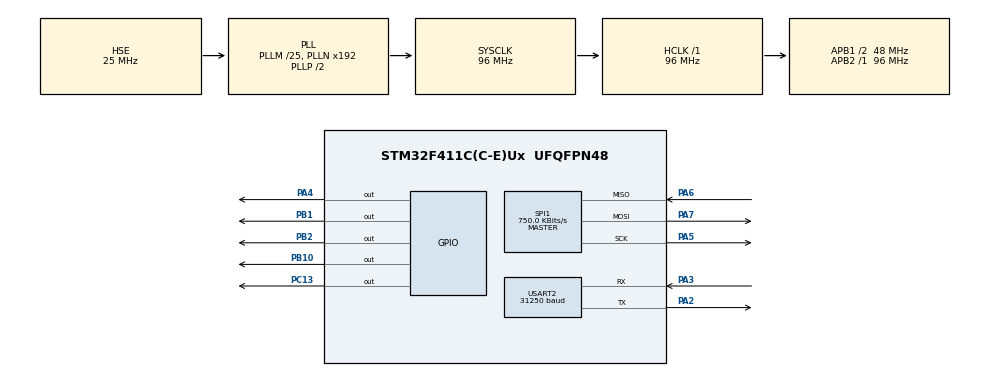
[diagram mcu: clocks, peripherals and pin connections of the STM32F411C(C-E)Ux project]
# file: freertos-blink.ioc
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Dma.Request0=SPI1_TX
Dma.SPI1_TX.0.Direction=DMA_MEMORY_TO_PERIPH
Dma.SPI1_TX.0.FIFOMode=DMA_FIFOMODE_DISABLE
Dma.SPI1_TX.0.Instance=DMA2_Stream2
Dma.SPI1_TX.0.MemDataAlignment=DMA_MDATAALIGN_BYTE
Dma.SPI1_TX.0.MemInc=DMA_MINC_ENABLE
Dma.SPI1_TX.0.Mode=DMA_NORMAL
Dma.SPI1_TX.0.PeriphDataAlignment=DMA_PDATAALIGN_BYTE
Dma.SPI1_TX.0.PeriphInc=DMA_PINC_DISABLE
Dma.SPI1_TX.0.Priority=DMA_PRIORITY_LOW
FREERTOS.Queues01=midi_queue,32,uint8_t,0,Static,midi_queueBuffer,midi_queueControlBlock;to_send_queue,16,fpga_msg_t,0,Static,to_send_queueBuffer,to_send_queueControlBlock
FREERTOS.Tasks01=blink01,24,128,start_blink_01,Default,NULL,Dynamic,NULL,NULL;transmit_spi,24,128,transmit_spi_01,Default,NULL,Dynamic,NULL,NULL;process_midi,32,128,process_midi_from_queue,Default,NULL,Dynamic,NULL,NULL
FREERTOS.configENABLE_FPU=1
Mcu.Family=STM32F4
Mcu.Name=STM32F411C(C-E)Ux
Mcu.Package=UFQFPN48
NVIC.DMA2_Stream2_IRQn=true\:5\:0\:false\:false\:true\:true\:false\:true\:true
NVIC.PriorityGroup=NVIC_PRIORITYGROUP_4
NVIC.SPI1_IRQn=true\:5\:0\:false\:false\:true\:true\:true\:true\:true
NVIC.TIM1_TRG_COM_TIM11_IRQn=true\:15\:0\:false\:false\:true\:false\:false\:true\:true
NVIC.TimeBase=TIM1_TRG_COM_TIM11_IRQn
NVIC.TimeBaseIP=TIM11
NVIC.USART2_IRQn=true\:5\:0\:false\:false\:true\:true\:true\:true\:true
PA13.Mode=Serial_Wire
PA13.Signal=SYS_JTMS-SWDIO
PA14.Mode=Serial_Wire
PA14.Signal=SYS_JTCK-SWCLK
PA2.Mode=Asynchronous
PA2.Signal=USART2_TX
PA3.Mode=Asynchronous
PA3.Signal=USART2_RX
PA4.Signal=GPIO_Output
PA5.Mode=Full_Duplex_Master
PA5.Signal=SPI1_SCK
PA6.Mode=Full_Duplex_Master
PA6.Signal=SPI1_MISO
PA7.Mode=Full_Duplex_Master
PA7.Signal=SPI1_MOSI
PB1.GPIO_PuPd=GPIO_PULLDOWN
PB1.PinState=GPIO_PIN_RESET
PB1.Signal=GPIO_Output
PB10.GPIO_PuPd=GPIO_PULLDOWN
PB10.PinState=GPIO_PIN_RESET
PB10.Signal=GPIO_Output
PB2.GPIO_PuPd=GPIO_PULLDOWN
PB2.PinState=GPIO_PIN_RESET
PB2.Signal=GPIO_Output
PC13-ANTI_TAMP.Signal=GPIO_Output
PH0\ -\ OSC_IN.Mode=HSE-External-Oscillator
PH0\ -\ OSC_IN.Signal=RCC_OSC_IN
PH1\ -\ OSC_OUT.Mode=HSE-External-Oscillator
PH1\ -\ OSC_OUT.Signal=RCC_OSC_OUT
ProjectManager.HeapSize=0x200
ProjectManager.StackSize=0x400
ProjectManager.TargetToolchain=Makefile
RCC.48MHZClocksFreq_Value=48000000
RCC.AHBFreq_Value=96000000
RCC.APB1CLKDivider=RCC_HCLK_DIV2
RCC.APB1Freq_Value=48000000
RCC.APB1TimFreq_Value=96000000
RCC.APB2Freq_Value=96000000
RCC.APB2TimFreq_Value=96000000
RCC.CortexFreq_Value=96000000
RCC.HCLKFreq_Value=96000000
RCC.HSE_VALUE=25000000
RCC.HSI_VALUE=16000000
RCC.LSE_VALUE=32768
RCC.PLLM=25
RCC.PLLSourceVirtual=RCC_PLLSOURCE_HSE
RCC.SYSCLKFreq_VALUE=96000000
RCC.SYSCLKSource=RCC_SYSCLKSOURCE_PLLCLK
RCC.VCOOutputFreq_Value=192000000
SPI1.BaudRatePrescaler=SPI_BAUDRATEPRESCALER_128
SPI1.CalculateBaudRate=750.0 KBits/s
SPI1.Direction=SPI_DIRECTION_2LINES
SPI1.Mode=SPI_MODE_MASTER
SPI1.VirtualType=VM_MASTER
USART2.BaudRate=31250
USART2.Mode=MODE_RX
USART2.VirtualMode=VM_ASYNC
VP_FREERTOS_VS_CMSIS_V2.Mode=CMSIS_V2
VP_SYS_VS_tim11.Mode=TIM11
board=custom

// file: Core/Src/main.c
/* USER CODE BEGIN Header */
/**
  ******************************************************************************
  * @file           : main.c
  * @brief          : Main program body
  ******************************************************************************
  * @attention
  *
  * Copyright (c) 2026 STMicroelectronics.
  * All rights reserved.
  *
  * This software is licensed under terms that can be found in the LICENSE file
  * in the root directory of this software component.
  * If no LICENSE file comes with this software, it is provided AS-IS.
  *
  ******************************************************************************
  */
/* USER CODE END Header */
#include "main.h"
#include "cmsis_os.h"
#include "dma.h"
#include "spi.h"
#include "usart.h"
#include "gpio.h"

/* USER CODE BEGIN Includes */
#include "midi.h"
/* USER CODE END Includes */

/* USER CODE BEGIN PV */
  uint8_t rx_buffer;
/* USER CODE END PV */

void SystemClock_Config(void);
void MX_FREERTOS_Init(void);

int main(void)
{

  /* MCU Configuration--------------------------------------------------------*/

  /* Reset of all peripherals, Initializes the Flash interface and the Systick. */
  HAL_Init();

  /* Configure the system clock */
  SystemClock_Config();

  /* Initialize all configured peripherals */
  MX_GPIO_Init();
  MX_DMA_Init();
  MX_USART2_UART_Init();
  MX_SPI1_Init();
  /* USER CODE BEGIN 2 */
  /* start receiving interrupts */
  HAL_UART_Receive_IT(&huart2, &rx_buffer, 1);
  /* Make leds show default freq mult (1/2 carrier f)*/
  display_freq_mult(0);
  /* USER CODE END 2 */

  /* Init scheduler */
  osKernelInitialize();  /* Call init function for freertos objects (in cmsis_os2.c) */
  MX_FREERTOS_Init();

  /* Start scheduler */
  osKernelStart();

  /* We should never get here as control is now taken by the scheduler */

  /* Infinite loop */
  while (1)
  {

  }
}

void SystemClock_Config(void)
{
  RCC_OscInitTypeDef RCC_OscInitStruct = {0};
  RCC_ClkInitTypeDef RCC_ClkInitStruct = {0};

  /** Configure the main internal regulator output voltage
  */
  __HAL_RCC_PWR_CLK_ENABLE();
  __HAL_PWR_VOLTAGESCALING_CONFIG(PWR_REGULATOR_VOLTAGE_SCALE1);

  /** Initializes the RCC Oscillators according to the specified parameters
  * in the RCC_OscInitTypeDef structure.
  */
  RCC_OscInitStruct.OscillatorType = RCC_OSCILLATORTYPE_HSE;
  RCC_OscInitStruct.HSEState = RCC_HSE_ON;
  RCC_OscInitStruct.PLL.PLLState = RCC_PLL_ON;
  RCC_OscInitStruct.PLL.PLLSource = RCC_PLLSOURCE_HSE;
  RCC_OscInitStruct.PLL.PLLM = 25;
  RCC_OscInitStruct.PLL.PLLN = 192;
  RCC_OscInitStruct.PLL.PLLP = RCC_PLLP_DIV2;
  RCC_OscInitStruct.PLL.PLLQ = 4;
  if (HAL_RCC_OscConfig(&RCC_OscInitStruct) != HAL_OK)
  {
    Error_Handler();
  }

  /** Initializes the CPU, AHB and APB buses clocks
  */
  RCC_ClkInitStruct.ClockType = RCC_CLOCKTYPE_HCLK|RCC_CLOCKTYPE_SYSCLK
                              |RCC_CLOCKTYPE_PCLK1|RCC_CLOCKTYPE_PCLK2;
  RCC_ClkInitStruct.SYSCLKSource = RCC_SYSCLKSOURCE_PLLCLK;
  RCC_ClkInitStruct.AHBCLKDivider = RCC_SYSCLK_DIV1;
  RCC_ClkInitStruct.APB1CLKDivider = RCC_HCLK_DIV2;
  RCC_ClkInitStruct.APB2CLKDivider = RCC_HCLK_DIV1;

  if (HAL_RCC_ClockConfig(&RCC_ClkInitStruct, FLASH_LATENCY_3) != HAL_OK)
  {
    Error_Handler();
  }
}

void HAL_TIM_PeriodElapsedCallback(TIM_HandleTypeDef *htim)
{
  if (htim->Instance == TIM11)
  {
    HAL_IncTick();
  }
}

void Error_Handler(void)
{
  __disable_irq();
  while (1)
  {
  }
}

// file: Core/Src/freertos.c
/* USER CODE BEGIN Header */
/**
  ******************************************************************************
  * File Name          : freertos.c
  * Description        : Code for freertos applications
  ******************************************************************************
  * @attention
  *
  * Copyright (c) 2026 STMicroelectronics.
  * All rights reserved.
  *
  * This software is licensed under terms that can be found in the LICENSE file
  * in the root directory of this software component.
  * If no LICENSE file comes with this software, it is provided AS-IS.
  *
  ******************************************************************************
  */
/* USER CODE END Header */

#include "FreeRTOS.h"
#include "task.h"
#include "main.h"
#include "cmsis_os.h"

/* USER CODE BEGIN Includes */
#include "midi.h"
/* USER CODE END Includes */

typedef StaticQueue_t osStaticMessageQDef_t;
/* USER CODE BEGIN PTD */

struct out_spi_msg_t{
  uint8_t packets[5];
  uint8_t target_osc;
  uint8_t msg_type;
};

/* USER CODE END PTD */

/* USER CODE BEGIN PD */
#define FLAG_MIDI_RECEIVED  0x0001
/* USER CODE END PD */

/* USER CODE BEGIN Variables */
extern SPI_HandleTypeDef hspi1;

/* USER CODE END Variables */
/* Definitions for blink01 */
osThreadId_t blink01Handle;
const osThreadAttr_t blink01_attributes = {
  .name = "blink01",
  .stack_size = 128 * 4,
  .priority = (osPriority_t) osPriorityNormal,
};
/* Definitions for transmit_spi */
osThreadId_t transmit_spiHandle;
const osThreadAttr_t transmit_spi_attributes = {
  .name = "transmit_spi",
  .stack_size = 128 * 4,
  .priority = (osPriority_t) osPriorityNormal,
};
/* Definitions for process_midi */
osThreadId_t process_midiHandle;
const osThreadAttr_t process_midi_attributes = {
  .name = "process_midi",
  .stack_size = 128 * 4,
  .priority = (osPriority_t) osPriorityAboveNormal,
};
/* Definitions for midi_queue */
osMessageQueueId_t midi_queueHandle;
uint8_t midi_queueBuffer[ 32 * sizeof( uint8_t ) ];
osStaticMessageQDef_t midi_queueControlBlock;
const osMessageQueueAttr_t midi_queue_attributes = {
  .name = "midi_queue",
  .cb_mem = &midi_queueControlBlock,
  .cb_size = sizeof(midi_queueControlBlock),
  .mq_mem = &midi_queueBuffer,
  .mq_size = sizeof(midi_queueBuffer)
};
/* Definitions for to_send_queue */
osMessageQueueId_t to_send_queueHandle;
uint8_t to_send_queueBuffer[ 16 * sizeof( fpga_msg_t ) ];
osStaticMessageQDef_t to_send_queueControlBlock;
const osMessageQueueAttr_t to_send_queue_attributes = {
  .name = "to_send_queue",
  .cb_mem = &to_send_queueControlBlock,
  .cb_size = sizeof(to_send_queueControlBlock),
  .mq_mem = &to_send_queueBuffer,
  .mq_size = sizeof(to_send_queueBuffer)
};

/* USER CODE BEGIN FunctionPrototypes */
static void assemble_spi_frames(fpga_msg_t* fpga_msg, uint8_t* frames);
/* USER CODE END FunctionPrototypes */

void start_blink_01(void *argument);
void transmit_spi_01(void *argument);
void process_midi_from_queue(void *argument);

void MX_FREERTOS_Init(void); /* (MISRA C 2004 rule 8.1) */

void MX_FREERTOS_Init(void) {

  /* Create the queue(s) */
  /* creation of midi_queue */
  midi_queueHandle = osMessageQueueNew (32, sizeof(uint8_t), &midi_queue_attributes);

  /* creation of to_send_queue */
  to_send_queueHandle = osMessageQueueNew (16, sizeof(fpga_msg_t), &to_send_queue_attributes);

  /* Create the thread(s) */
  /* creation of blink01 */
  blink01Handle = osThreadNew(start_blink_01, NULL, &blink01_attributes);

  /* creation of transmit_spi */
  transmit_spiHandle = osThreadNew(transmit_spi_01, NULL, &transmit_spi_attributes);

  /* creation of process_midi */
  process_midiHandle = osThreadNew(process_midi_from_queue, NULL, &process_midi_attributes);

}

void start_blink_01(void *argument)
{
  /* USER CODE BEGIN start_blink_01 */
  uint32_t active_flags;

  /* Infinite loop */
  for(;;)
  {
    active_flags = osThreadFlagsWait(FLAG_MIDI_RECEIVED, osFlagsWaitAny, osWaitForever);

    if ((active_flags & osFlagsError) == 0) {
      if (active_flags & FLAG_MIDI_RECEIVED) {
        HAL_GPIO_WritePin(GPIOC, GPIO_PIN_13, 0);
        osDelay(20);
        HAL_GPIO_WritePin(GPIOC, GPIO_PIN_13, 1);
      }
    }
  }
  /* USER CODE END start_blink_01 */
}

void transmit_spi_01(void *argument)
{
  /* USER CODE BEGIN transmit_spi_01 */
  fpga_msg_t fpga_msg;
  uint8_t frames[5];

  /* Infinite loop */
  for(;;)
  {
    if (osMessageQueueGet(to_send_queueHandle, (void *)&fpga_msg, NULL, 10) == osOK) {

      /* Prepare message to be transmitted */
      assemble_spi_frames(&fpga_msg, frames);

      /* Pull CS line low*/
      HAL_GPIO_WritePin(GPIOA, GPIO_PIN_4, 0);

      /* Transmit SPI with DMA */
      HAL_SPI_Transmit_DMA(&hspi1, frames, 5);

      /* Notify with led */
      osThreadFlagsSet(blink01Handle, FLAG_MIDI_RECEIVED);
    }
  }
  /* USER CODE END transmit_spi_01 */
}

void process_midi_from_queue(void *argument)
{
  /* USER CODE BEGIN process_midi_from_queue */
  uint8_t rcv_msg = 0;

  /* Infinite loop */
  for(;;)
  {
    if (osMessageQueueGet(midi_queueHandle, (void *)&rcv_msg, NULL, 10) == osOK) {
      process_midi(rcv_msg);
    }
  }
  /* USER CODE END process_midi_from_queue */
}

/* USER CODE BEGIN Application */
static void assemble_spi_frames(fpga_msg_t* fpga_msg, uint8_t* frames)
{
  frames[0] = 0x00 | (fpga_msg->msg_type << 5) | (fpga_msg->target_osc);

  /* Shift out uint32_t by 8 bit frames MSB first */
  for (int i = 0; i < 4; i++){
    frames[i + 1] = (fpga_msg->data >> (8 * (3 - i))) & 0xFF;
  }
}
/* USER CODE END Application */
